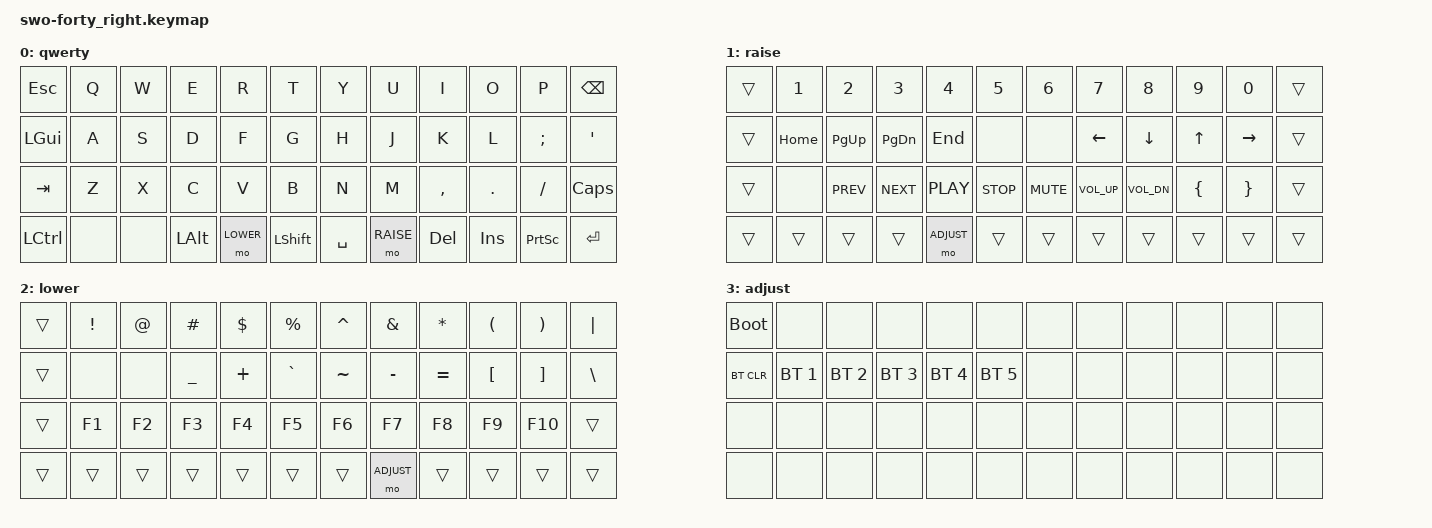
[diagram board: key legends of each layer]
/*
 * Copyright (c) 2021 The ZMK Contributors
 *
 * SPDX-License-Identifier: MIT
 */

#include <behaviors.dtsi>
#include <dt-bindings/zmk/outputs.h>
#include <dt-bindings/zmk/keys.h>
#include <dt-bindings/zmk/bt.h>

//Layer definitions
#define QWERTY 0
#define RAISE 1
#define LOWER 2
#define ADJUST 3

/ {
    keymap {
        compatible = "zmk,keymap";

        qwerty {
// -------------------------------------   -------------------------------------
// | ESC |  Q  |  W  |  E  |  R  |  T  |   |  Y  |  U  |  I  |  O  |  P  | BSPC|
// | LGUI|  A  |  S  |  D  |  F  |  G  |   |  H  |  J  |  K  |  L  |  ;  |  '  |
// | TAB |  Z  |  X  |  C  |  V  |  B  |   |  N  |  M  |  ,  |  .  |  /  | CAPS|
// |LCTRL| XXX | XXX | LALT|LOWER|LSHFT|   |SPACE|RAISE| DEL | INS |PSCRN|ENTER|
// -------------------------------------   -------------------------------------
            bindings = <
    &kp ESC     &kp Q   &kp W   &kp E       &kp R       &kp T       /**/    &kp Y       &kp U       &kp I       &kp O   &kp P       &kp BSPC  
    &kp LGUI    &kp A   &kp S   &kp D       &kp F       &kp G       /**/    &kp H       &kp J       &kp K       &kp L   &kp SEMI    &kp SQT   
    &kp TAB     &kp Z   &kp X   &kp C       &kp V       &kp B       /**/    &kp N       &kp M       &kp COMMA   &kp DOT &kp FSLH    &kp CAPS
    &kp LCTRL   &none   &none   &kp LALT    &mo LOWER   &kp LSHFT   /**/    &kp SPACE   &mo RAISE   &kp DEL     &kp INS &kp PSCRN   &kp ENTER
            >;
        };

        raise {
// -------------------------------------   -------------------------------------
// |     |  1  |  2  |  3  |  4  |  5  |   |  6  |  7  |  8  |  9  |  0  |     |
// |     | HOME| PGUP| PGDN| END | XXX |   | XXX | LEFT| DOWN|  UP |RIGHT|     |
// |     | XXX | PREV| NEXT| PLAY| STOP|   | MUTE| VOL-| VOL+|  {  |  }  |     |
// |     |     |     |     | ADJ |     |   |     |     |     |     |     |     |
// -------------------------------------   -------------------------------------
            bindings = <
    &trans  &kp N1      &kp N2      &kp N3      &kp N4      &kp N5   	/**/    &kp N6  	&kp N7      	&kp N8      	&kp N9  	&kp N0      &trans  
    &trans  &kp HOME    &kp PG_UP   &kp PG_DN   &kp END     &none    	/**/    &none   	&kp LEFT    	&kp DOWN    	&kp UP  	&kp RIGHT   &trans
    &trans  &none       &kp C_PREV  &kp C_NEXT  &kp C_PLAY  &kp C_STOP  /**/    &kp C_MUTE  &kp C_VOL_UP    &kp C_VOL_DN    &kp LBRC    &kp RBRC    &trans
    &trans  &trans      &trans      &trans      &mo ADJUST  &trans  	/**/    &trans  	&trans      	&trans      	&trans  	&trans      &trans
            >;
        };

        lower {
// -------------------------------------   -------------------------------------
// |     |  !  |  @  |  #  |  $  |  %  |   |  ^  |  &  |  *  |  (  |  )  |  |  |
// |     | XXX | XXX |  _  |  +  |  `  |   |  ~  |  -  |  =  |  [  |  ]  |  \  |
// |     |  F1 |  F2 |  F3 |  F4 |  F5 |   |  F6 |  F7 |  F8 |  F9 | F10 |     |
// |     |     |     |     |     |     |   |     | ADJ |     |     |     |     |
// -------------------------------------   -------------------------------------
            bindings = <
    &trans	&kp EXCL	&kp AT		&kp HASH    &kp DOLLAR  &kp PERCENT /**/    &kp CARET   &kp AMPS    &kp STAR	&kp LPAR    &kp RPAR    &kp PIPE  
    &trans	&none		&none       &kp UNDER   &kp PLUS    &kp GRAVE   /**/    &kp TILDE   &kp MINUS   &kp EQUAL	&kp LBKT    &kp RBKT    &kp BSLH 
    &trans	&kp F1		&kp F2      &kp F3      &kp F4      &kp F5  	/**/    &kp F6  	&kp F7      &kp F8		&kp F9		&kp F10     &trans
    &trans	&trans		&trans      &trans      &trans      &trans      /**/    &trans      &mo ADJUST  &trans		&trans      &trans      &trans
            >;
        };

       adjust {
// -------------------------------------   -------------------------------------
// |RESET|     |     |     |     |     |   |     |     |     |     |     |     |
// |BTCLR| BT1 | BD2 | BT3 | BT4 | BT5 |   |     |     |     |     |     |     |
// |     |     |     |     |     |     |   |     |     |     |     |     |     |
// |     |     |     |     |     |     |   |     |     |     |     |     |     |
// -------------------------------------   -------------------------------------
            bindings = <
    &bootloader     &none           &none           &none           &none           &none           /**/    &none   &none   &none   &none   &none   &none
    &bt BT_CLR      &bt BT_SEL 1    &bt BT_SEL 2    &bt BT_SEL 3    &bt BT_SEL 4    &bt BT_SEL 5    /**/    &none   &none   &none   &none   &none   &none
    &none           &none           &none           &none           &none           &none           /**/    &none   &none   &none   &none   &none   &none
    &none           &none           &none           &none           &none           &none           /**/    &none   &none   &none   &none   &none   &none
            >;
        }; 
    };
};
